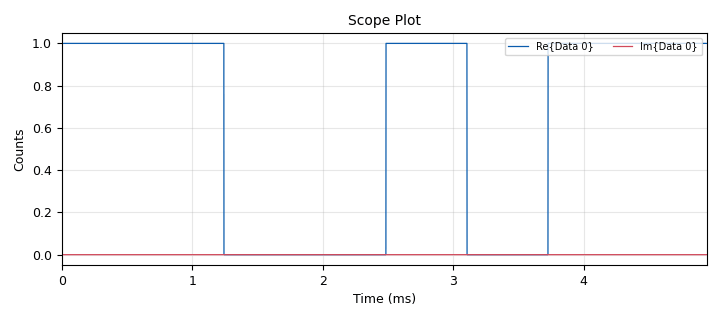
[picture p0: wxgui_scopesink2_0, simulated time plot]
<?xml version='1.0' encoding='utf-8'?>
<?grc format='1' created='3.7.9'?>
<flow_graph>
<block>
<key>options</key>
<param><key>id</key><value>top_block</value></param>
<param><key>category</key><value>Custom</value></param>
<param><key>generate_options</key><value>wx_gui</value></param>
</block>
<block>
<key>variable</key>
<param><key>id</key><value>msg</value></param>
<param><key>value</key><value>"000011110000111100001111000011110000111100001111000011110000111111110011001100101010101101010010110100110100110101001100101011001101001010110010110100110010110100110010101100101011000"</value></param>
</block>
<block>
<key>variable</key>
<param><key>id</key><value>samp_rate</value></param>
<param><key>value</key><value>2e6</value></param>
</block>
<block>
<key>variable</key>
<param><key>id</key><value>spacing</value></param>
<param><key>value</key><value>10</value></param>
</block>
<block>
<key>blocks_float_to_complex</key>
<param><key>id</key><value>blocks_float_to_complex_0</value></param>
</block>
<block>
<key>blocks_int_to_float</key>
<param><key>id</key><value>blocks_int_to_float_1</value></param>
<param><key>scale</key><value>1</value></param>
</block>
<block>
<key>blocks_moving_average_xx</key>
<param><key>id</key><value>blocks_moving_average_xx_0</value></param>
<param><key>length</key><value>int(540*2.3)</value></param>
<param><key>max_iter</key><value>4000</value></param>
<param><key>scale</key><value>1</value></param>
<param><key>type</key><value>float</value></param>
</block>
<block>
<key>blocks_multiply_const_vxx</key>
<param><key>id</key><value>blocks_multiply_const_vxx_0</value></param>
<param><key>const</key><value>1</value></param>
<param><key>type</key><value>float</value></param>
</block>
<block>
<key>blocks_vector_source_x</key>
<param><key>id</key><value>blocks_vector_source_x_0</value></param>
<param><key>type</key><value>int</value></param>
<param><key>repeat</key><value>True</value></param>
<param><key>vector</key><value>[ int (x) for x in msg ] + [ 0] * spacing</value></param>
</block>
<block>
<key>osmosdr_sink</key>
<param><key>id</key><value>osmosdr_sink_0</value></param>
<param><key>bb_gain0</key><value>20</value></param>
<param><key>freq0</key><value>433.42e6</value></param>
<param><key>if_gain0</key><value>20</value></param>
<param><key>gain0</key><value>10</value></param>
<param><key>args</key><value></value></param>
<param><key>type</key><value>fc32</value></param>
<param><key>sample_rate</key><value>samp_rate</value></param>
<param><key>sync</key><value></value></param>
</block>
<block>
<key>rational_resampler_xxx</key>
<param><key>id</key><value>rational_resampler_xxx_0</value></param>
<param><key>decim</key><value>1</value></param>
<param><key>fbw</key><value>4</value></param>
<param><key>interp</key><value>int(540*2.3)</value></param>
<param><key>taps</key><value>1</value></param>
<param><key>type</key><value>fff</value></param>
</block>
<block>
<key>wxgui_scopesink2</key>
<param><key>id</key><value>wxgui_scopesink2_0</value></param>
<param><key>ac_couple</key><value>False</value></param>
<param><key>num_inputs</key><value>1</value></param>
<param><key>samp_rate</key><value>samp_rate</value></param>
<param><key>t_scale</key><value>0</value></param>
<param><key>title</key><value>Scope Plot</value></param>
<param><key>trig_mode</key><value>wxgui.TRIG_MODE_AUTO</value></param>
<param><key>type</key><value>complex</value></param>
<param><key>v_offset</key><value>0</value></param>
<param><key>v_scale</key><value>0</value></param>
<param><key>xy_mode</key><value>False</value></param>
<param><key>y_axis_label</key><value>Counts</value></param>
</block>
<block>
<key>wxgui_scopesink2</key>
<param><key>id</key><value>wxgui_scopesink2_1</value></param>
<param><key>ac_couple</key><value>False</value></param>
<param><key>_enabled</key><value>0</value></param>
<param><key>num_inputs</key><value>1</value></param>
<param><key>samp_rate</key><value>samp_rate</value></param>
<param><key>t_scale</key><value>0</value></param>
<param><key>title</key><value>Scope Plot</value></param>
<param><key>trig_mode</key><value>wxgui.TRIG_MODE_AUTO</value></param>
<param><key>type</key><value>float</value></param>
<param><key>v_offset</key><value>0</value></param>
<param><key>v_scale</key><value>0</value></param>
<param><key>xy_mode</key><value>False</value></param>
<param><key>y_axis_label</key><value>Counts</value></param>
</block>
<connection><source_block_id>blocks_float_to_complex_0</source_block_id><sink_block_id>osmosdr_sink_0</sink_block_id><source_key>0</source_key><sink_key>0</sink_key></connection>
<connection><source_block_id>blocks_float_to_complex_0</source_block_id><sink_block_id>wxgui_scopesink2_0</sink_block_id><source_key>0</source_key><sink_key>0</sink_key></connection>
<connection><source_block_id>blocks_int_to_float_1</source_block_id><sink_block_id>rational_resampler_xxx_0</sink_block_id><source_key>0</source_key><sink_key>0</sink_key></connection>
<connection><source_block_id>blocks_int_to_float_1</source_block_id><sink_block_id>wxgui_scopesink2_1</sink_block_id><source_key>0</source_key><sink_key>0</sink_key></connection>
<connection><source_block_id>blocks_moving_average_xx_0</source_block_id><sink_block_id>blocks_multiply_const_vxx_0</sink_block_id><source_key>0</source_key><sink_key>0</sink_key></connection>
<connection><source_block_id>blocks_multiply_const_vxx_0</source_block_id><sink_block_id>blocks_float_to_complex_0</sink_block_id><source_key>0</source_key><sink_key>0</sink_key></connection>
<connection><source_block_id>blocks_vector_source_x_0</source_block_id><sink_block_id>blocks_int_to_float_1</sink_block_id><source_key>0</source_key><sink_key>0</sink_key></connection>
<connection><source_block_id>rational_resampler_xxx_0</source_block_id><sink_block_id>blocks_moving_average_xx_0</sink_block_id><source_key>0</source_key><sink_key>0</sink_key></connection>
</flow_graph>
